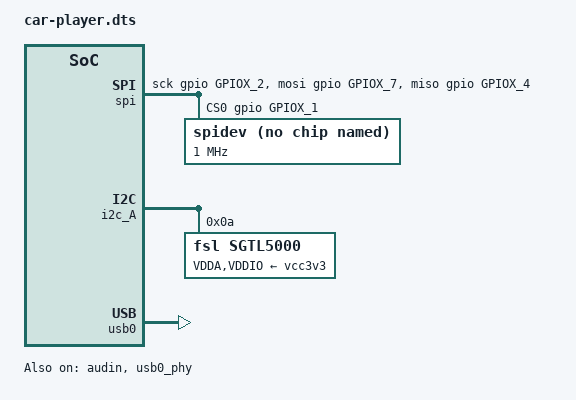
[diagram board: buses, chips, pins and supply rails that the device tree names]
#include "amlogic/meson-gxbb-odroidc2.dts"

&i2c_A {
	sgtl5000: sgtl5000@a	{
		status = "okay";
		compatible = "fsl,sgtl5000";
		reg = <0x0a>;

		#sound-dai-cells = <0>;
		clocks = <&clkc CLKID_CTS_AMCLK>;

		VDDA-supply = <&vcc3v3>;
		VDDIO-supply = <&vcc3v3>;

		// Turn on AMCLK automatically for probing otherwise the device won't
		// answer on I2C
		assigned-clocks = <&clkc CLKID_CTS_AMCLK>;
		assigned-clock-rates = <12288000>;

		/* Configure I2S pins
		 * I2S IN is not configured because it's the default configuration so
		 * as long as "pwm_ao_a_6_pins" or "spdif_out_ao_6_pins" are not used,
		 * then this is fine.
		 */
		pinctrl-0 = <&i2s_am_clk_pins>, <&i2s_out_ao_clk_pins>,
			<&i2s_out_lr_clk_pins>, <&i2s_out_ch01_ao_pins>;
		pinctrl-names = "default";
	};
};

/ {
	sound {
		audio-routing = "AUDIN I2S Formatter", "AIU I2S Encoder Capture";

		dai-link-1 {
			codec-1 {
				sound-dai = <&sgtl5000>;
			};
		};

		dai-link-3 {
			sound-dai = <&audin 0>;
		};
	};

	spi {
		compatible = "spi-gpio";
		#address-cells = <0x1>;
		#size-cells = <0x0>;
		sck-gpios = <&gpio GPIOX_2 GPIO_ACTIVE_HIGH>;
		mosi-gpios = <&gpio GPIOX_7 GPIO_ACTIVE_HIGH>;
		miso-gpios = <&gpio GPIOX_4 GPIO_ACTIVE_HIGH>;
		cs-gpios = <&gpio GPIOX_1 GPIO_ACTIVE_HIGH>;
		num-chipselects = <1>;

		spidev@0 {
			compatible = "rohm,dh2228fv";
			reg = <0>;
			status = "okay";
			spi-max-frequency = <1000000>;
		};
	};
};

&audin {
	status = "okay";
};

&usb0_phy {
	status = "okay";
};

&usb0 {
	status = "okay";
};
